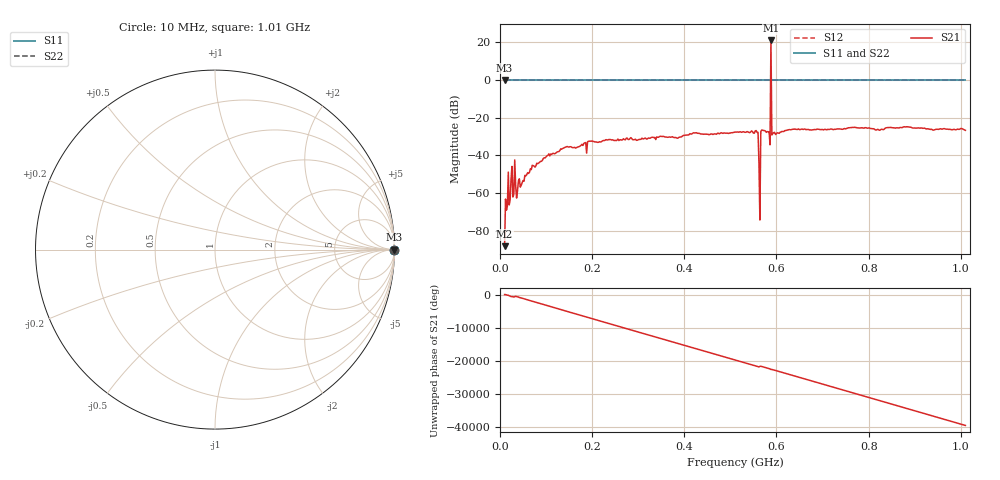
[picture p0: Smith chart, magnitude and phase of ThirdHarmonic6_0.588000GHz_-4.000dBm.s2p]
! 8/15/2025 7:03:17 PM
! C:\ANRITSUVNA\TEMP\TEMP.S2P
! CHANNEL.1
! TR.MEASUREMENT
! RAW.DATA
! RF.CORRECTION.OFF
! AVERAGING.OFF
! IF.BANDWIDTH: 5KHZ
! SWEEPTYPE:  FREQ.SWEEP(Linear)
! Reference Plane Port Info
! PORT:  PORT1  PORT2
! DISTANCE:  0  m  0  m
! TIME:  0  s  0  s
! PHASE.OFFSET:  0  deg.  0  deg.
! LOSS:  0  dB  0  dB
! REF.LOSS:  0  dB  0  dB
! REF.FREQ:  0  Hz  0  Hz
! Power Info
! POWER:  -20  dBm  -20  dBm
! EFF.POWER:  -20  dBm  -20  dBm
! SOURCE.ATTEN:  0  dB  0  dB
! TEST.ATTEN:  0  dB  0  dB
# GHZ S RI R 50.0
! FREQ.GHZ  S11RE  S11IM  S21RE  S21IM  S12RE  S12IM  S22RE  S22IM
!; PortSelection: Port_12
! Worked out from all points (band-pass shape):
!   501 points, 10 MHz to 1.01 GHz, reference 50 ohm
!   highest |S21| = 21.01 dB at 588 MHz (marker M1); lowest = -88.2 dB at 10 MHz (marker M2)
!   |S21| within 3 dB of the highest: 587.8917 MHz to 588.1196 MHz (227.9 kHz wide, 0.0388 % of centre)
!   lowest |S11| = 0.0 dB at 10 MHz (marker M3)
!   |S11| at or under -10 dB: nowhere
!   |S22| runs from 0.0 to 0.0 dB; largest |S21 - S12| = 12
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0.01  1 0  -7.3e-06 3.84e-05  1 0  1 0
0.022  1 0  0.000658 6.74e-05  1 0  1 0
0.024  1 0  -0.00205 -0.00123  1 0  1 0
0.028  1 0  -0.00078 9.83e-05  1 0  1 0
0.04  1 0  0.000391 0.00208  1 0  1 0
0.102  1 0  0.00875 0.00432  1 0  1 0
0.178  1 0  -0.0195 -0.00322  1 0  1 0
0.344  1 0  0.029 -0.0091  1 0  1 0
0.51  1 0  -0.0366 0.0203  1 0  1 0
0.556  1 0  -0.00733 0.0449  1 0  1 0
0.56  1 0  0.0217 -0.0347  1 0  1 0
0.562  1 0  -0.00543 -0.003  1 0  1 0
0.566  1 0  0.0212 0.0373  1 0  1 0
0.57  1 0  -0.0116 -0.0452  1 0  1 0
0.582  1 0  -0.0277 0.0319  1 0  1 0
0.584  1 0  0.0259 0.0338  1 0  1 0
0.588  1 0  -10.85 2.896  1 0  1 0
0.592  1 0  -0.000439 0.0379  1 0  1 0
0.594  1 0  0.0393 0.00825  1 0  1 0
0.678  1 0  -0.0301 -0.037  1 0  1 0
0.844  1 0  0.0482 0.0264  1 0  1 0
1.01  1 0  -0.0463 0.00161  1 0  1 0
